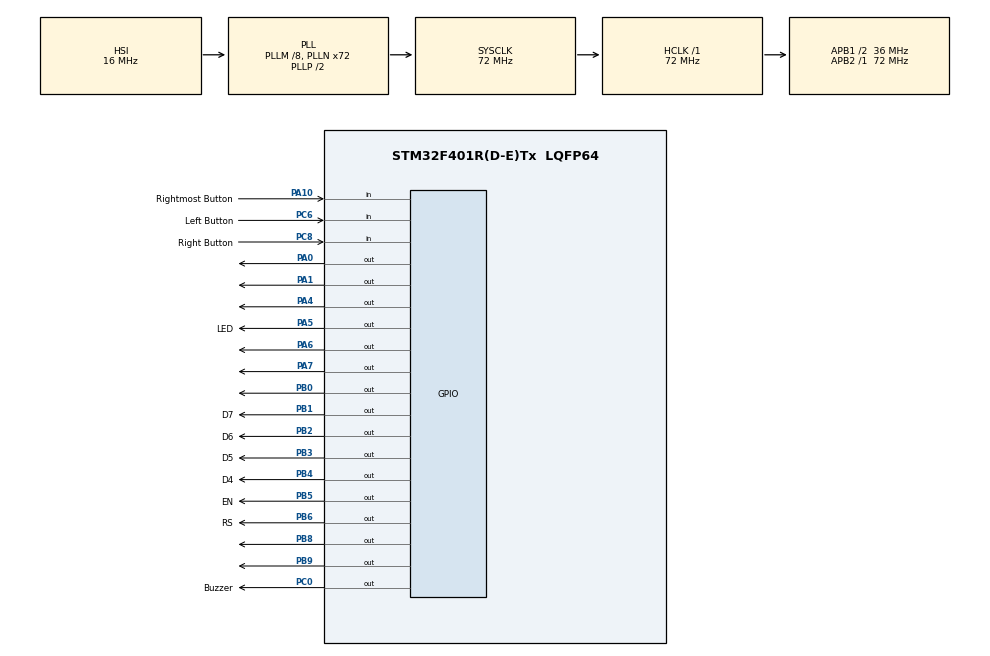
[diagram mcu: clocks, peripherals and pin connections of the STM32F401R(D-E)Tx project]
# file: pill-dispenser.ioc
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Mcu.Family=STM32F4
Mcu.Name=STM32F401R(D-E)Tx
Mcu.Package=LQFP64
NVIC.PriorityGroup=NVIC_PRIORITYGROUP_0
PA0-WKUP.Signal=GPIO_Output
PA1.Signal=GPIO_Output
PA10.GPIO_Label=Rightmost Button
PA10.GPIO_PuPd=GPIO_PULLUP
PA10.Signal=GPIO_Input
PA13.GPIO_Label=TMS
PA13.Mode=Serial_Wire
PA13.Signal=SYS_JTMS-SWDIO
PA14.GPIO_Label=TCK
PA14.Mode=Serial_Wire
PA14.Signal=SYS_JTCK-SWCLK
PA4.Signal=GPIO_Output
PA5.GPIO_Label=LED
PA5.Signal=GPIO_Output
PA6.Signal=GPIO_Output
PA7.Signal=GPIO_Output
PB0.Signal=GPIO_Output
PB1.GPIO_Label=D7
PB1.Signal=GPIO_Output
PB2.GPIO_Label=D6
PB2.Signal=GPIO_Output
PB3.GPIO_Label=D5
PB3.Signal=GPIO_Output
PB4.GPIO_Label=D4
PB4.Signal=GPIO_Output
PB5.GPIO_Label=EN
PB5.Signal=GPIO_Output
PB6.GPIO_Label=RS
PB6.Signal=GPIO_Output
PB8.Signal=GPIO_Output
PB9.Signal=GPIO_Output
PC0.GPIO_Label=Buzzer
PC0.GPIO_PuPd=GPIO_PULLDOWN
PC0.Signal=GPIO_Output
PC14-OSC32_IN.Mode=LSE-External-Oscillator
PC14-OSC32_IN.Signal=RCC_OSC32_IN
PC15-OSC32_OUT.Mode=LSE-External-Oscillator
PC15-OSC32_OUT.Signal=RCC_OSC32_OUT
PC6.GPIO_Label=Left Button
PC6.GPIO_PuPd=GPIO_PULLUP
PC6.Signal=GPIO_Input
PC8.GPIO_Label=Right Button
PC8.GPIO_PuPd=GPIO_PULLUP
PC8.Signal=GPIO_Input
PH0\ -\ OSC_IN.Mode=HSE-External-Oscillator
PH0\ -\ OSC_IN.Signal=RCC_OSC_IN
PH1\ -\ OSC_OUT.Mode=HSE-External-Oscillator
PH1\ -\ OSC_OUT.Signal=RCC_OSC_OUT
ProjectManager.HeapSize=0x200
ProjectManager.StackSize=0x400
ProjectManager.TargetToolchain=STM32CubeIDE
RCC.48MHZClocksFreq_Value=20571428.57142857
RCC.AHBFreq_Value=72000000
RCC.APB1CLKDivider=RCC_HCLK_DIV2
RCC.APB1Freq_Value=36000000
RCC.APB1TimFreq_Value=72000000
RCC.APB2Freq_Value=72000000
RCC.APB2TimFreq_Value=72000000
RCC.CortexFreq_Value=72000000
RCC.HCLKFreq_Value=72000000
RCC.HSE_VALUE=8000000
RCC.HSI_VALUE=16000000
RCC.PLLM=8
RCC.PLLN=72
RCC.PLLQ=7
RCC.SYSCLKFreq_VALUE=72000000
RCC.SYSCLKSource=RCC_SYSCLKSOURCE_PLLCLK
RCC.VCOOutputFreq_Value=144000000
TIM2.Prescaler=71
VP_TIM2_VS_ClockSourceINT.Mode=Internal
board=NUCLEO-F401RE

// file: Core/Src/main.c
/* USER CODE BEGIN Header */
/**
  ******************************************************************************
  * @file           : main.c
  * @brief          : Main program body
  ******************************************************************************
  * @attention
  *
  * Copyright (c) 2023 STMicroelectronics.
  * All rights reserved.
  *
  * This software is licensed under terms that can be found in the LICENSE file
  * in the root directory of this software component.
  * If no LICENSE file comes with this software, it is provided AS-IS.
  *
  ******************************************************************************
  */
/* USER CODE END Header */
#include "main.h"
#include "tim.h"
#include "gpio.h"

/* USER CODE BEGIN Includes */
#include "lcd.h"
/* USER CODE END Includes */

void SystemClock_Config(void);

/* USER CODE BEGIN 0 */
struct Button {
	GPIO_TypeDef* port;
	uint16_t pin;
	uint32_t time_pressed;
	int state;
};

struct Motor {
	GPIO_TypeDef* IN1_PORT;
	GPIO_TypeDef* IN2_PORT;
	GPIO_TypeDef* IN3_PORT;
	GPIO_TypeDef* IN4_PORT;
	uint16_t IN1_PIN;
	uint16_t IN2_PIN;
	uint16_t IN3_PIN;
	uint16_t IN4_PIN;
};

// Function to convert minutes to 24-hour time format and return as a string
char* convertTo24HourFormat(int minutes) {
    int hours = minutes / 60;
    int mins = minutes % 60;

    // Allocate memory for the result string
    char* result = (char*)malloc(6); // HH:MM\0

    // Check if memory allocation was successful
    if (result == NULL) {
        printf("Memory allocation failed.\n");
        exit(1); // Exit with an error code
    }

    // Format the result string
    sprintf(result, "%02d:%02d", hours, mins);

    return result;
}

void microDelay (uint16_t delay)
{
  __HAL_TIM_SET_COUNTER(&htim2, 0);
  while (__HAL_TIM_GET_COUNTER(&htim2) < delay);
}

void stepCCV (int steps, uint16_t delay, struct Motor m) // CCV - Counter Clockwise
{
  for(int x=0; x<steps; x=x+1)
  {
	  HAL_GPIO_WritePin(m.IN1_PORT, m.IN1_PIN, GPIO_PIN_SET);   // IN1
	  HAL_GPIO_WritePin(m.IN2_PORT, m.IN2_PIN, GPIO_PIN_RESET); // IN2
	  HAL_GPIO_WritePin(m.IN3_PORT, m.IN3_PIN, GPIO_PIN_RESET); // IN3
	  HAL_GPIO_WritePin(m.IN4_PORT, m.IN4_PIN, GPIO_PIN_RESET); // IN4
	  microDelay(delay);
	  HAL_GPIO_WritePin(m.IN1_PORT, m.IN1_PIN, GPIO_PIN_SET);   // IN1
	  HAL_GPIO_WritePin(m.IN2_PORT, m.IN2_PIN, GPIO_PIN_SET);   // IN2
	  HAL_GPIO_WritePin(m.IN3_PORT, m.IN3_PIN, GPIO_PIN_RESET); // IN3
	  HAL_GPIO_WritePin(m.IN4_PORT, m.IN4_PIN, GPIO_PIN_RESET); // IN4
	  microDelay(delay);
	  HAL_GPIO_WritePin(m.IN1_PORT, m.IN1_PIN, GPIO_PIN_RESET); // IN1
	  HAL_GPIO_WritePin(m.IN2_PORT, m.IN2_PIN, GPIO_PIN_SET);   // IN2
	  HAL_GPIO_WritePin(m.IN3_PORT, m.IN3_PIN, GPIO_PIN_RESET); // IN3
	  HAL_GPIO_WritePin(m.IN4_PORT, m.IN4_PIN, GPIO_PIN_RESET); // IN4
	  microDelay(delay);
	  HAL_GPIO_WritePin(m.IN1_PORT, m.IN1_PIN, GPIO_PIN_RESET); // IN1
	  HAL_GPIO_WritePin(m.IN2_PORT, m.IN2_PIN, GPIO_PIN_SET);   // IN2
	  HAL_GPIO_WritePin(m.IN3_PORT, m.IN3_PIN, GPIO_PIN_SET);   // IN3
	  HAL_GPIO_WritePin(m.IN4_PORT, m.IN4_PIN, GPIO_PIN_RESET); // IN4
	  microDelay(delay);
	  HAL_GPIO_WritePin(m.IN1_PORT, m.IN1_PIN, GPIO_PIN_RESET); // IN1
	  HAL_GPIO_WritePin(m.IN2_PORT, m.IN2_PIN, GPIO_PIN_RESET); // IN2
	  HAL_GPIO_WritePin(m.IN3_PORT, m.IN3_PIN, GPIO_PIN_SET);   // IN3
	  HAL_GPIO_WritePin(m.IN4_PORT, m.IN4_PIN, GPIO_PIN_RESET); // IN4
	  microDelay(delay);
	  HAL_GPIO_WritePin(m.IN1_PORT, m.IN1_PIN, GPIO_PIN_RESET); // IN1
	  HAL_GPIO_WritePin(m.IN2_PORT, m.IN2_PIN, GPIO_PIN_RESET); // IN2
	  HAL_GPIO_WritePin(m.IN3_PORT, m.IN3_PIN, GPIO_PIN_SET);   // IN3
	  HAL_GPIO_WritePin(m.IN4_PORT, m.IN4_PIN, GPIO_PIN_SET);   // IN4
	  microDelay(delay);
	  HAL_GPIO_WritePin(m.IN1_PORT, m.IN1_PIN, GPIO_PIN_RESET); // IN1
	  HAL_GPIO_WritePin(m.IN2_PORT, m.IN2_PIN, GPIO_PIN_RESET); // IN2
	  HAL_GPIO_WritePin(m.IN3_PORT, m.IN3_PIN, GPIO_PIN_RESET); // IN3
	  HAL_GPIO_WritePin(m.IN4_PORT, m.IN4_PIN, GPIO_PIN_SET);   // IN4
	  microDelay(delay);
	  HAL_GPIO_WritePin(m.IN1_PORT, m.IN1_PIN, GPIO_PIN_SET);   // IN1
	  HAL_GPIO_WritePin(m.IN2_PORT, m.IN2_PIN, GPIO_PIN_RESET); // IN2
	  HAL_GPIO_WritePin(m.IN3_PORT, m.IN3_PIN, GPIO_PIN_RESET); // IN3
	  HAL_GPIO_WritePin(m.IN4_PORT, m.IN4_PIN, GPIO_PIN_SET);   // IN4
	  microDelay(delay);
  }
}

void stepCV (int steps, uint16_t delay, struct Motor m) // CV - Clockwise
{
  for(int x=0; x<steps; x=x+1)
  {
	  HAL_GPIO_WritePin(m.IN1_PORT, m.IN1_PIN, GPIO_PIN_SET);   // IN1
	  HAL_GPIO_WritePin(m.IN2_PORT, m.IN2_PIN, GPIO_PIN_RESET); // IN2
	  HAL_GPIO_WritePin(m.IN3_PORT, m.IN3_PIN, GPIO_PIN_RESET); // IN3
	  HAL_GPIO_WritePin(m.IN4_PORT, m.IN4_PIN, GPIO_PIN_SET);   // IN4
	  microDelay(delay);
	  HAL_GPIO_WritePin(m.IN1_PORT, m.IN1_PIN, GPIO_PIN_RESET); // IN1
	  HAL_GPIO_WritePin(m.IN2_PORT, m.IN2_PIN, GPIO_PIN_RESET); // IN2
	  HAL_GPIO_WritePin(m.IN3_PORT, m.IN3_PIN, GPIO_PIN_RESET); // IN3
	  HAL_GPIO_WritePin(m.IN4_PORT, m.IN4_PIN, GPIO_PIN_SET);   // IN4
	  microDelay(delay);
	  HAL_GPIO_WritePin(m.IN1_PORT, m.IN1_PIN, GPIO_PIN_RESET); // IN1
	  HAL_GPIO_WritePin(m.IN2_PORT, m.IN2_PIN, GPIO_PIN_RESET); // IN2
	  HAL_GPIO_WritePin(m.IN3_PORT, m.IN3_PIN, GPIO_PIN_SET);   // IN3
	  HAL_GPIO_WritePin(m.IN4_PORT, m.IN4_PIN, GPIO_PIN_SET);   // IN4
	  microDelay(delay);
	  HAL_GPIO_WritePin(m.IN1_PORT, m.IN1_PIN, GPIO_PIN_RESET); // IN1
	  HAL_GPIO_WritePin(m.IN2_PORT, m.IN2_PIN, GPIO_PIN_RESET); // IN2
	  HAL_GPIO_WritePin(m.IN3_PORT, m.IN3_PIN, GPIO_PIN_SET);   // IN3
	  HAL_GPIO_WritePin(m.IN4_PORT, m.IN4_PIN, GPIO_PIN_RESET); // IN4
	  microDelay(delay);
	  HAL_GPIO_WritePin(m.IN1_PORT, m.IN1_PIN, GPIO_PIN_RESET); // IN1
	  HAL_GPIO_WritePin(m.IN2_PORT, m.IN2_PIN, GPIO_PIN_SET);   // IN2
	  HAL_GPIO_WritePin(m.IN3_PORT, m.IN3_PIN, GPIO_PIN_SET);   // IN3
	  HAL_GPIO_WritePin(m.IN4_PORT, m.IN4_PIN, GPIO_PIN_RESET); // IN4
	  microDelay(delay);
	  HAL_GPIO_WritePin(m.IN1_PORT, m.IN1_PIN, GPIO_PIN_RESET); // IN1
	  HAL_GPIO_WritePin(m.IN2_PORT, m.IN2_PIN, GPIO_PIN_SET);   // IN2
	  HAL_GPIO_WritePin(m.IN3_PORT, m.IN3_PIN, GPIO_PIN_RESET); // IN3
	  HAL_GPIO_WritePin(m.IN4_PORT, m.IN4_PIN, GPIO_PIN_RESET); // IN4
	  microDelay(delay);
	  HAL_GPIO_WritePin(m.IN1_PORT, m.IN1_PIN, GPIO_PIN_SET);   // IN1
	  HAL_GPIO_WritePin(m.IN2_PORT, m.IN2_PIN, GPIO_PIN_SET);   // IN2
	  HAL_GPIO_WritePin(m.IN3_PORT, m.IN3_PIN, GPIO_PIN_RESET); // IN3
	  HAL_GPIO_WritePin(m.IN4_PORT, m.IN4_PIN, GPIO_PIN_RESET); // IN4
	  microDelay(delay);
	  HAL_GPIO_WritePin(m.IN1_PORT, m.IN1_PIN, GPIO_PIN_SET);   // IN1
	  HAL_GPIO_WritePin(m.IN2_PORT, m.IN2_PIN, GPIO_PIN_RESET); // IN2
	  HAL_GPIO_WritePin(m.IN3_PORT, m.IN3_PIN, GPIO_PIN_RESET); // IN3
	  HAL_GPIO_WritePin(m.IN4_PORT, m.IN4_PIN, GPIO_PIN_RESET); // IN4
	  microDelay(delay);

  }
}

/* USER CODE END 0 */

int main(void)
{

  /* MCU Configuration--------------------------------------------------------*/

  /* Reset of all peripherals, Initializes the Flash interface and the Systick. */
  HAL_Init();

  /* Configure the system clock */
  SystemClock_Config();

  /* Initialize all configured peripherals */
  MX_GPIO_Init();
  MX_TIM2_Init();
  /* USER CODE BEGIN 2 */
  HAL_TIM_Base_Start(&htim2);

  struct Motor m1, m2;
  m1.IN1_PIN = GPIO_PIN_0;
  m1.IN1_PORT = GPIOA;
  m1.IN2_PIN = GPIO_PIN_1;
  m1.IN2_PORT = GPIOA;
  m1.IN3_PIN = GPIO_PIN_4;
  m1.IN3_PORT = GPIOA;
  m1.IN4_PIN = GPIO_PIN_0;
  m1.IN4_PORT = GPIOB;
  m2.IN1_PIN = GPIO_PIN_8;
  m2.IN1_PORT = GPIOB;
  m2.IN2_PIN = GPIO_PIN_9;
  m2.IN2_PORT = GPIOB;
  m2.IN3_PIN = GPIO_PIN_6;
  m2.IN3_PORT = GPIOA;
  m2.IN4_PIN = GPIO_PIN_7;
  m2.IN4_PORT = GPIOA;
  unsigned int pill_count = 0;
  unsigned int dispense_time = 0;
  unsigned int input_state = 0;

  Lcd_PortType ports[] = { D4_GPIO_Port, D5_GPIO_Port, D6_GPIO_Port, D7_GPIO_Port };
  Lcd_PinType pins[] = {D4_Pin, D5_Pin, D6_Pin, D7_Pin};
  Lcd_HandleTypeDef lcd;
  lcd = Lcd_create(ports, pins, RS_GPIO_Port, RS_Pin, EN_GPIO_Port, EN_Pin, LCD_4_BIT_MODE);
  Lcd_cursor(&lcd, 0, 1);
  Lcd_string(&lcd, "# to dispense:");
  Lcd_cursor(&lcd, 1, 7);
  Lcd_int(&lcd, pill_count);

  struct Button buttons[3];
  buttons[0].port = Left_Button_GPIO_Port;
  buttons[0].pin = Left_Button_Pin;
  buttons[1].port = Right_Button_GPIO_Port;
  buttons[1].pin = Right_Button_Pin;
  buttons[2].port = Rightmost_Button_GPIO_Port;
  buttons[2].pin = Rightmost_Button_Pin;
  for (int i = 0; i < 3; i++){
	  buttons[i].time_pressed = 0;
	  buttons[i].state = GPIO_PIN_SET;
  }

  /* USER CODE END 2 */

  /* Infinite loop */
  while (1)
  {

    /* USER CODE BEGIN 3 */

	  for (int i = 0; i < 3; i++){
		  if(HAL_GPIO_ReadPin(buttons[i].port, buttons[i].pin) == GPIO_PIN_RESET){
			  if(buttons[i].state == GPIO_PIN_SET){
				  buttons[i].time_pressed = HAL_GetTick();
				  buttons[i].state = GPIO_PIN_RESET;
			  }
		  }
		  else{
			  if(buttons[i].state == GPIO_PIN_RESET){
				  if(HAL_GetTick() - buttons[i].time_pressed < 750){ //held less than 3 seconds
					  if(input_state == 0){
						  if(i == 0){
							  if(pill_count == 10){
								  Lcd_cursor(&lcd, 1, 8);
								  Lcd_string(&lcd, " ");
							  }
							  if(pill_count > 0) pill_count--;
							  Lcd_cursor(&lcd, 1, 7);
							  Lcd_int(&lcd, pill_count);
						  }
						  else if(i == 1){
							  if(pill_count < 10) pill_count++;
							  Lcd_cursor(&lcd, 1, 7);
							  Lcd_int(&lcd, pill_count);
						  }
						  else{
							  for(int i = 0; i < pill_count; i++){
								  stepCCV(256, 1000, m1);  // 256 half revolution
								  stepCCV(256, 1000, m2);
								  HAL_Delay(100);
								  stepCV(256, 1000, m2);
								  stepCV(256, 1000, m1);
							  }
						  }
					  }
					  else if(input_state == 1){
						  if(i == 0){
							  if(dispense_time > 0) dispense_time -= 30;
							  Lcd_cursor(&lcd, 1, 5);
							  Lcd_string(&lcd, convertTo24HourFormat(dispense_time));
						  }
						  else if(i == 1){
							  if(dispense_time < 1440) dispense_time += 30;
							  Lcd_cursor(&lcd, 1, 5);
							  Lcd_string(&lcd, convertTo24HourFormat(dispense_time));
						  }
					  }
				  }
				  else{
					  if(input_state == 0 && i == 2){
						  input_state++;
						  Lcd_clear(&lcd);
						  Lcd_cursor(&lcd, 0, 1);
						  Lcd_string(&lcd, "Dispense time:");
						  Lcd_cursor(&lcd, 1, 5);
						  Lcd_string(&lcd, convertTo24HourFormat(dispense_time));
					  }
				  }
				  buttons[i].state = GPIO_PIN_SET;
			  }
		  }
	  }
	  /*
	  if((HAL_GPIO_ReadPin(Rightmost_Button_GPIO_Port, Rightmost_Button_Pin) == GPIO_PIN_RESET) ||
			  (HAL_GPIO_ReadPin(Right_Button_GPIO_Port, Right_Button_Pin) == GPIO_PIN_RESET) ||
			  (HAL_GPIO_ReadPin(Left_Button_GPIO_Port, Left_Button_Pin) == GPIO_PIN_RESET)){
		  //HAL_GPIO_WritePin(Buzzer_GPIO_Port, Buzzer_Pin, GPIO_PIN_SET);
		  HAL_GPIO_WritePin(LED_GPIO_Port, LED_Pin, GPIO_PIN_SET);
	  }
	  else{
		  //HAL_GPIO_WritePin(Buzzer_GPIO_Port, Buzzer_Pin, GPIO_PIN_RESET);
		  HAL_GPIO_WritePin(LED_GPIO_Port, LED_Pin, GPIO_PIN_RESET);
	  }
	  */
  }
  /* USER CODE END 3 */
}

void SystemClock_Config(void)
{
  RCC_OscInitTypeDef RCC_OscInitStruct = {0};
  RCC_ClkInitTypeDef RCC_ClkInitStruct = {0};

  /** Configure the main internal regulator output voltage
  */
  __HAL_RCC_PWR_CLK_ENABLE();
  __HAL_PWR_VOLTAGESCALING_CONFIG(PWR_REGULATOR_VOLTAGE_SCALE2);

  /** Initializes the RCC Oscillators according to the specified parameters
  * in the RCC_OscInitTypeDef structure.
  */
  RCC_OscInitStruct.OscillatorType = RCC_OSCILLATORTYPE_HSI;
  RCC_OscInitStruct.HSIState = RCC_HSI_ON;
  RCC_OscInitStruct.HSICalibrationValue = RCC_HSICALIBRATION_DEFAULT;
  RCC_OscInitStruct.PLL.PLLState = RCC_PLL_ON;
  RCC_OscInitStruct.PLL.PLLSource = RCC_PLLSOURCE_HSI;
  RCC_OscInitStruct.PLL.PLLM = 8;
  RCC_OscInitStruct.PLL.PLLN = 72;
  RCC_OscInitStruct.PLL.PLLP = RCC_PLLP_DIV2;
  RCC_OscInitStruct.PLL.PLLQ = 7;
  if (HAL_RCC_OscConfig(&RCC_OscInitStruct) != HAL_OK)
  {
    Error_Handler();
  }

  /** Initializes the CPU, AHB and APB buses clocks
  */
  RCC_ClkInitStruct.ClockType = RCC_CLOCKTYPE_HCLK|RCC_CLOCKTYPE_SYSCLK
                              |RCC_CLOCKTYPE_PCLK1|RCC_CLOCKTYPE_PCLK2;
  RCC_ClkInitStruct.SYSCLKSource = RCC_SYSCLKSOURCE_PLLCLK;
  RCC_ClkInitStruct.AHBCLKDivider = RCC_SYSCLK_DIV1;
  RCC_ClkInitStruct.APB1CLKDivider = RCC_HCLK_DIV2;
  RCC_ClkInitStruct.APB2CLKDivider = RCC_HCLK_DIV1;

  if (HAL_RCC_ClockConfig(&RCC_ClkInitStruct, FLASH_LATENCY_2) != HAL_OK)
  {
    Error_Handler();
  }
}

void Error_Handler(void)
{
  __disable_irq();
  while (1)
  {
  }
}
